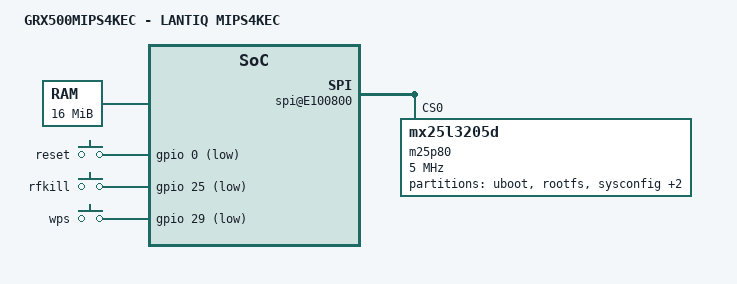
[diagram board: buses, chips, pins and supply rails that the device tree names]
/dts-v1/;

/include/ "amazonse.dtsi"

/ {
	model = "GRX500MIPS4KEC - LANTIQ MIPS4KEC";

	chosen {
//		bootargs = "console=ttyLTQ0,115200 init=/etc/preinit";
	};

	memory@0 {
		reg = <0x0 0x1000000>;
	};

	fpi@10000000 {
		gpio: pinmux@E100B10 {
			pinctrl-names = "default";
			pinctrl-0 = <&state_default>;

			state_default: pinmux {
				spi {
					lantiq,groups = "spi", "spi_cs1";
					lantiq,function = "spi";
				};
				asc {
					lantiq,groups = "asc";
					lantiq,function = "asc";
				};
				conf_out {
					lantiq,pins = "io7", "io9", "io10";
					lantiq,open-drain = <0>;
					lantiq,pull = <0>;
					lantiq,output = <1>;
				};
				keys_in {
					lantiq,pins = "io0",/* "io25", */"io29";
					lantiq,pull = <2>;
					lantiq,open-drain = <1>;
				};
			};
		};

		etop@E180000 {
			phy-mode = "mii";
			mac-address = [ 00 11 22 33 44 55 ];
		};

		spi@E100800 {
			m25p80@0 {
				#address-cells = <1>;
				#size-cells = <1>;
				compatible = "mx25l3205d";
				reg = <0 0>;
				linux,modalias = "m25p80", "mx25l64";
				spi-max-frequency = <5000000>;

				partition@0 {
					reg = <0x0 0x10000>;
					label = "uboot";
				};

				partition@10000 {
					reg = <0x10000 0x3D0000>;
					label = "rootfs";
				};

				partition@3E0000 {
					reg = <0x3E0000 0x8000>;
					label = "sysconfig";
				};

				partition@3E8000 {
					reg = <0x3E8000 0x1000>;
					label = "ubootconfig";
				};

				partition@3E9000 {
					reg = <0x3E9000 0x1000>;
					label = "fwdiag";
				};
			};
		};
		ifxhcd@E101000 {
			status = "okay";
		};
	};

	gpio-keys-polled {
		compatible = "gpio-keys-polled";
		#address-cells = <1>;
		#size-cells = <0>;
		poll-interval = <100>;

		reset {
			label = "reset";
			gpios = <&gpio 0 1>;
			linux,code = <0x198>;
		};
		rfkill {
			label = "rfkill";
			gpios = <&gpio 25 1>;
			linux,code = <0xf7>;
		};
		wps {
			label = "wps";
			gpios = <&gpio 29 1>;
			linux,code = <0x211>;
		};
	};

	gpio-leds {
		cmpatible = "gpio-leds";
		dsl {
			label = "dsl";
			gpios = <&gpio 1 1>;
			default-state = "on";
		};
		online {
			label = "online";
			gpios = <&gpio 2 1>;
			default-state = "on";
		};
		online2 {
			label = "online2";
			gpios = <&gpio 3 1>;
			default-state = "on";
		};
		wps {
			label = "wps";
			gpios = <&gpio 4 1>;
			default-state = "on";
		};
		power {
			label = "power";
			gpios = <&gpio 13 1>;
			default-state = "on";
		};
	};
};
